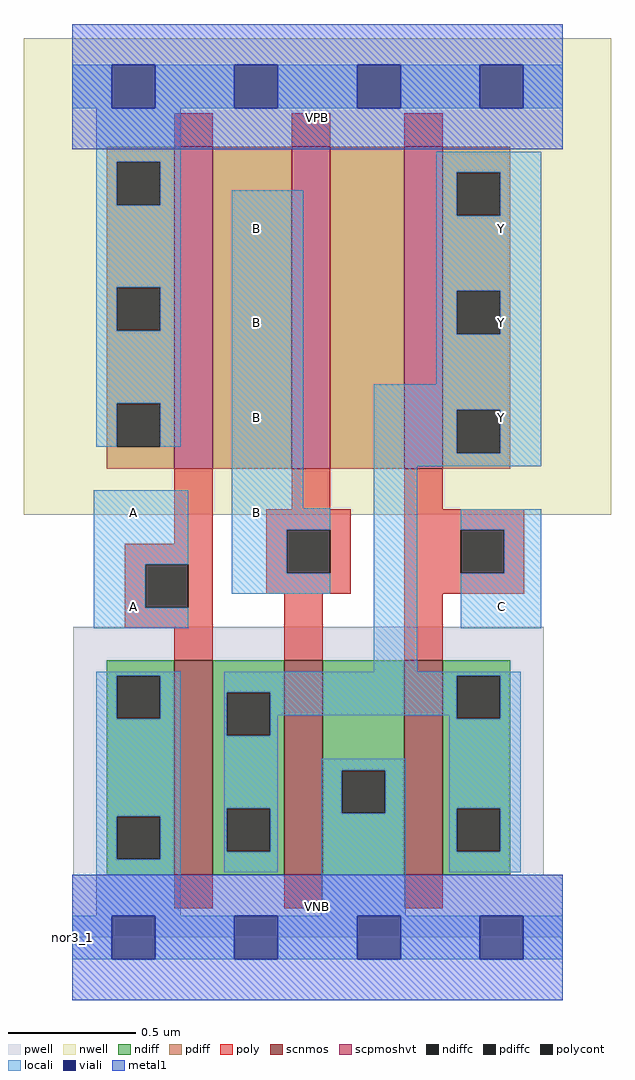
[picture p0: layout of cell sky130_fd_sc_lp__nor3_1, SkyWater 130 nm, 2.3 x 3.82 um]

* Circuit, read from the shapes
.subckt sky130_fd_sc_lp__nor3_1 A B C VGND VNB VPB VPWR Y
XM1 Y A VGND VNB sky130_fd_pr__nfet_01v8 w=0.84 l=0.15
XM2 VGND B Y VNB sky130_fd_pr__nfet_01v8 w=0.84 l=0.15
XM3 Y C VGND VNB sky130_fd_pr__nfet_01v8 w=0.84 l=0.15
XM4 n1 A VPWR VPB sky130_fd_pr__pfet_01v8_hvt w=1.26 l=0.15
XM5 n2 B n1 VPB sky130_fd_pr__pfet_01v8_hvt w=1.26 l=0.15
XM6 Y C n2 VPB sky130_fd_pr__pfet_01v8_hvt w=1.26 l=0.15
.ends

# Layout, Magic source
magic
tech sky130A
magscale 1 2
<< nwell >>
rect -38 331 422 704
<< pwell >>
rect 1 49 369 243
rect 0 0 384 49
<< scnmos >>
rect 80 49 110 217
rect 166 49 196 217
rect 260 49 290 217
<< scpmoshvt >>
rect 80 367 110 619
rect 172 367 202 619
rect 260 367 290 619
<< ndiff >>
rect 27 205 80 217
rect 27 171 35 205
rect 69 171 80 205
rect 27 95 80 171
rect 27 61 35 95
rect 69 61 80 95
rect 27 49 80 61
rect 110 192 166 217
rect 110 158 121 192
rect 155 158 166 192
rect 110 101 166 158
rect 110 67 121 101
rect 155 67 166 101
rect 110 49 166 67
rect 196 131 260 217
rect 196 97 211 131
rect 245 97 260 131
rect 196 49 260 97
rect 290 205 343 217
rect 290 171 301 205
rect 335 171 343 205
rect 290 101 343 171
rect 290 67 301 101
rect 335 67 343 101
rect 290 49 343 67
<< pdiff >>
rect 27 607 80 619
rect 27 573 35 607
rect 69 573 80 607
rect 27 509 80 573
rect 27 475 35 509
rect 69 475 80 509
rect 27 418 80 475
rect 27 384 35 418
rect 69 384 80 418
rect 27 367 80 384
rect 110 367 172 619
rect 202 367 260 619
rect 290 599 343 619
rect 290 565 301 599
rect 335 565 343 599
rect 290 506 343 565
rect 290 472 301 506
rect 335 472 343 506
rect 290 413 343 472
rect 290 379 301 413
rect 335 379 343 413
rect 290 367 343 379
<< ndiffc >>
rect 35 171 69 205
rect 35 61 69 95
rect 121 158 155 192
rect 121 67 155 101
rect 211 97 245 131
rect 301 171 335 205
rect 301 67 335 101
<< pdiffc >>
rect 35 573 69 607
rect 35 475 69 509
rect 35 384 69 418
rect 301 565 335 599
rect 301 472 335 506
rect 301 379 335 413
<< poly >>
rect 80 619 110 645
rect 172 619 202 645
rect 260 619 290 645
rect 80 308 110 367
rect 172 335 202 367
rect 260 335 290 367
rect 41 292 110 308
rect 41 258 57 292
rect 91 258 110 292
rect 152 319 218 335
rect 152 285 168 319
rect 202 285 218 319
rect 152 269 218 285
rect 260 319 354 335
rect 260 285 304 319
rect 338 285 354 319
rect 260 269 354 285
rect 41 242 110 258
rect 80 217 110 242
rect 166 217 196 269
rect 260 217 290 269
rect 80 23 110 49
rect 166 23 196 49
rect 260 23 290 49
<< polycont >>
rect 57 258 91 292
rect 168 285 202 319
rect 304 285 338 319
<< locali >>
rect 0 649 31 683
rect 65 649 127 683
rect 161 649 223 683
rect 257 649 319 683
rect 353 649 384 683
rect 19 607 85 649
rect 19 573 35 607
rect 69 573 85 607
rect 285 599 367 615
rect 19 509 85 573
rect 19 475 35 509
rect 69 475 85 509
rect 19 418 85 475
rect 19 384 35 418
rect 69 384 85 418
rect 17 292 91 350
rect 17 258 57 292
rect 125 336 181 585
rect 285 565 301 599
rect 335 565 367 599
rect 285 506 367 565
rect 285 472 301 506
rect 335 472 367 506
rect 285 433 367 472
rect 236 413 367 433
rect 236 379 301 413
rect 335 379 367 413
rect 236 369 367 379
rect 125 319 202 336
rect 125 285 168 319
rect 125 269 202 285
rect 17 242 91 258
rect 236 208 270 369
rect 304 319 367 335
rect 338 285 367 319
rect 304 242 367 285
rect 19 205 85 208
rect 19 171 35 205
rect 69 171 85 205
rect 19 95 85 171
rect 19 61 35 95
rect 69 61 85 95
rect 19 17 85 61
rect 119 205 351 208
rect 119 192 301 205
rect 119 158 121 192
rect 155 174 301 192
rect 155 158 161 174
rect 119 101 161 158
rect 295 171 301 174
rect 335 171 351 205
rect 119 67 121 101
rect 155 67 161 101
rect 119 51 161 67
rect 195 131 261 140
rect 195 97 211 131
rect 245 97 261 131
rect 195 17 261 97
rect 295 101 351 171
rect 295 67 301 101
rect 335 67 351 101
rect 295 51 351 67
rect 0 -17 31 17
rect 65 -17 127 17
rect 161 -17 223 17
rect 257 -17 319 17
rect 353 -17 384 17
<< viali >>
rect 31 649 65 683
rect 127 649 161 683
rect 223 649 257 683
rect 319 649 353 683
rect 31 -17 65 17
rect 127 -17 161 17
rect 223 -17 257 17
rect 319 -17 353 17
<< metal1 >>
rect 0 683 384 715
rect 0 649 31 683
rect 65 649 127 683
rect 161 649 223 683
rect 257 649 319 683
rect 353 649 384 683
rect 0 617 384 649
rect 0 17 384 49
rect 0 -17 31 17
rect 65 -17 127 17
rect 161 -17 223 17
rect 257 -17 319 17
rect 353 -17 384 17
rect 0 -49 384 -17
<< labels >>
flabel pwell s 0 0 384 49 0 FreeSans 200 0 0 0 VNB
port 5 nsew ground bidirectional
flabel nwell s 0 617 384 666 0 FreeSans 200 0 0 0 VPB
port 6 nsew power bidirectional
rlabel comment s 0 0 0 0 4 nor3_1
flabel metal1 s 0 617 384 666 0 FreeSans 340 0 0 0 VPWR
port 7 nsew power bidirectional
flabel metal1 s 0 0 384 49 0 FreeSans 340 0 0 0 VGND
port 4 nsew ground bidirectional
flabel locali s 127 316 161 350 0 FreeSans 340 0 0 0 B
port 2 nsew signal input
flabel locali s 127 390 161 424 0 FreeSans 340 0 0 0 B
port 2 nsew signal input
flabel locali s 127 464 161 498 0 FreeSans 340 0 0 0 B
port 2 nsew signal input
flabel locali s 127 538 161 572 0 FreeSans 340 0 0 0 B
port 2 nsew signal input
flabel locali s 319 242 353 276 0 FreeSans 340 0 0 0 C
port 3 nsew signal input
flabel locali s 31 242 65 276 0 FreeSans 340 0 0 0 A
port 1 nsew signal input
flabel locali s 31 316 65 350 0 FreeSans 340 0 0 0 A
port 1 nsew signal input
flabel locali s 319 390 353 424 0 FreeSans 340 0 0 0 Y
port 8 nsew signal output
flabel locali s 319 538 353 572 0 FreeSans 340 0 0 0 Y
port 8 nsew signal output
flabel locali s 319 464 353 498 0 FreeSans 340 0 0 0 Y
port 8 nsew signal output
<< properties >>
string LEFsite unit
string LEFclass CORE
string FIXED_BBOX 0 0 384 666
string GDS_FILE $PDKPATH/libs.ref/sky130_fd_sc_lp/gds/sky130_fd_sc_lp.gds
string LEFsymmetry X Y R90
string GDS_END 2477888
string GDS_START 2472856
<< end >>
